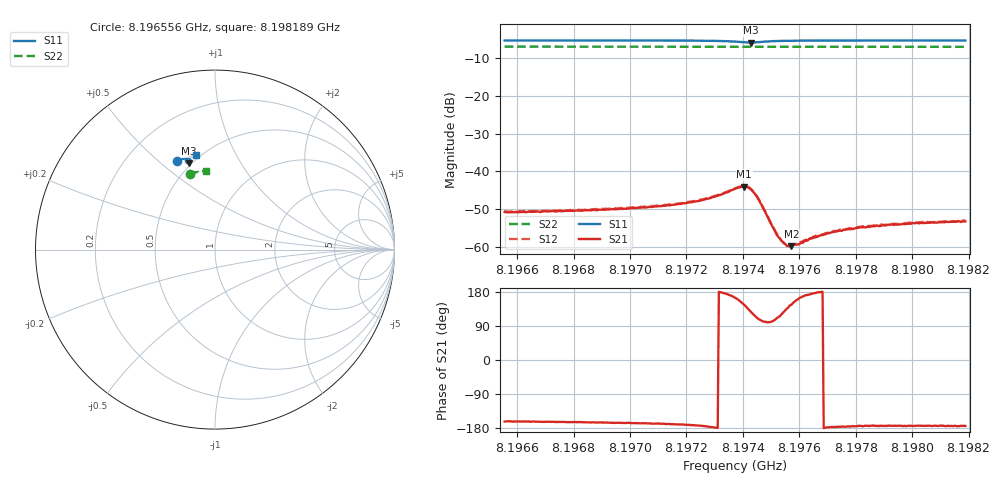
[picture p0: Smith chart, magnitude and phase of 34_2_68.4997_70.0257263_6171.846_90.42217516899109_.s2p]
#  HZ  S  RI  R  50.00
! Rohde & Schwarz Vector Network Analyzer
! Rohde-Schwarz,ZNB20-2Port,1311601062101988,3.16
! Created: UTC 3/20/2024, 4:50:03 PM
! freq[Hz]  re:S11  im:S11  re:S21  im:S21  re:S12  im:S12  re:S22  im:S22
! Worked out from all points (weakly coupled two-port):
!   401 points, 8.196556 GHz to 8.198189 GHz, reference 50 ohm
!   highest |S21| = -43.98 dB at 8.197405 GHz (marker M1); lowest = -59.7 dB at 8.197572 GHz (marker M2)
!   lowest |S11| = -6.0 dB at 8.197429 GHz (marker M3), VSWR 3.02, Z = 24.1 + j31.1 ohm
!   |S11| at or under -10 dB: nowhere
!   |S22| runs from -7.1 to -7.0 dB; largest |S21 - S12| = 0.00034
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8.1965557e9  -0.2103 0.4937  -0.00279 -0.000887  -0.00286 -0.000817  -0.139 0.4225
8.1968292e9  -0.1912 0.501  -0.00291 -0.000845  -0.00302 -0.00072  -0.1241 0.4267
8.1971028e9  -0.1703 0.5074  -0.00339 -0.000752  -0.00347 -0.000623  -0.1092 0.4302
8.1972498e9  -0.1559 0.5095  -0.00409 -0.00048  -0.00421 -0.000328  -0.101 0.432
8.1973151e9  -0.1469 0.508  -0.00484 9.29e-06  -0.00496 0.000209  -0.0973 0.4325
8.1973723e9  -0.1374 0.4997  -0.00568 0.00162  -0.00572 0.00188  -0.094 0.433
8.1974049e9  -0.1377 0.4877  -0.00522 0.00357  -0.00516 0.00385  -0.0924 0.4329
8.1974294e9  -0.1471 0.4809  -0.00342 0.00465  -0.00326 0.00488  -0.0914 0.4331
8.1974417e9  -0.1531 0.4813  -0.00234 0.00457  -0.00215 0.00477  -0.0909 0.4332
8.197458e9  -0.1593 0.4856  -0.00123 0.00397  -0.00108 0.00406  -0.0902 0.4333
8.197507e9  -0.1614 0.5  -0.000411 0.00176  -0.000348 0.00181  -0.0875 0.4344
8.1975274e9  -0.1596 0.5038  -0.000551 0.00123  -0.000519 0.00128  -0.0863 0.4345
8.1975478e9  -0.1572 0.5066  -0.000705 0.000866  -0.000671 0.000887  -0.0851 0.4347
8.1975642e9  -0.1554 0.5083  -0.000811 0.000641  -0.00081 0.000665  -0.0843 0.4349
8.1975723e9  -0.1546 0.5091  -0.000853 0.000581  -0.000875 0.000599  -0.0838 0.4351
8.197605e9  -0.151 0.5114  -0.00109 0.000294  -0.00112 0.000366  -0.0818 0.4353
8.1976458e9  -0.147 0.5135  -0.0013 0.000125  -0.00134 0.000173  -0.0796 0.4357
8.1977193e9  -0.1403 0.5161  -0.00158 -9.42e-05  -0.00164 -4.28e-05  -0.0754 0.4365
8.1977642e9  -0.1365 0.5173  -0.00171 -0.000118  -0.00172 -7.63e-05  -0.073 0.4368
8.1978255e9  -0.1315 0.5189  -0.00182 -0.00016  -0.0019 -0.000133  -0.0694 0.4371
8.1979194e9  -0.1243 0.5207  -0.00199 -0.000223  -0.00202 -0.000156  -0.0642 0.4379
8.1981888e9  -0.1045 0.5251  -0.00218 -0.000226  -0.00223 -0.000126  -0.049 0.4392
